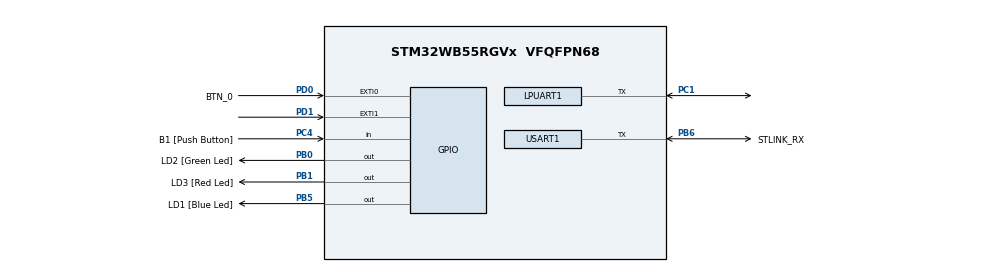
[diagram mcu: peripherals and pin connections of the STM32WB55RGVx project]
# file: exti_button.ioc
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LPUART1.BaudRate=9600
Mcu.Family=STM32WB
Mcu.Name=STM32WB55RGVx
Mcu.Package=VFQFPN68
NVIC.EXTI0_IRQn=true\:0\:0\:false\:false\:true\:true\:true\:true
NVIC.EXTI1_IRQn=true\:0\:0\:false\:false\:true\:true\:true\:true
NVIC.LPUART1_IRQn=true\:0\:0\:false\:false\:true\:true\:true\:true
NVIC.PriorityGroup=NVIC_PRIORITYGROUP_4
OSC_IN.GPIO_Label=RCC_OSC_IN
OSC_IN.Mode=HSE-External-Oscillator
OSC_IN.Signal=RCC_OSC_IN
OSC_OUT.GPIO_Label=RCC_OSC_OUT
OSC_OUT.Mode=HSE-External-Oscillator
OSC_OUT.Signal=RCC_OSC_OUT
PA11.GPIO_Label=USB_DM
PA11.Signal=USB_DM
PA12.GPIO_Label=USB_DP
PA12.Signal=USB_DP
PA13.GPIO_Label=JTMS
PA13.Mode=Serial_Wire
PA13.Signal=SYS_JTMS-SWDIO
PA14.GPIO_Label=JTCK
PA14.Mode=Serial_Wire
PA14.Signal=SYS_JTCK-SWCLK
PB0.GPIO_Label=LD2 [Green Led]
PB0.Signal=GPIO_Output
PB1.GPIO_Label=LD3 [Red Led]
PB1.Signal=GPIO_Output
PB3.GPIO_Label=JTDO
PB3.Signal=SYS_JTDO-SWO
PB5.GPIO_Label=LD1 [Blue Led]
PB5.Signal=GPIO_Output
PB6.GPIO_Label=STLINK_RX
PB6.Mode=Half_duplex(single_wire_mode)
PB6.Signal=USART1_TX
PB7.GPIO_Label=STLINK_TX
PB7.Signal=USART1_RX
PC1.Mode=Half_duplex(single_wire_mode)
PC1.Signal=LPUART1_TX
PC13.GPIO_Label=SYS_WKUP2
PC13.Signal=SYS_WKUP2
PC14-OSC32_IN.GPIO_Label=RCC_OSC32_IN
PC14-OSC32_IN.Mode=LSE-External-Oscillator
PC14-OSC32_IN.Signal=RCC_OSC32_IN
PC15-OSC32_OUT.GPIO_Label=RCC_OSC32_OUT
PC15-OSC32_OUT.Mode=LSE-External-Oscillator
PC15-OSC32_OUT.Signal=RCC_OSC32_OUT
PC4.GPIO_Label=B1 [Push Button]
PC4.Signal=GPIO_Input
PD0.GPIO_Label=BTN_0
PD0.GPIO_ModeDefaultEXTI=GPIO_MODE_IT_FALLING
PD0.GPIO_PuPd=GPIO_PULLUP
PD0.Signal=GPXTI0
PD1.Signal=GPXTI1
ProjectManager.HeapSize=0x200
ProjectManager.StackSize=0x400
ProjectManager.TargetToolchain=STM32CubeIDE
RCC.ADCFreq_Value=128000000
RCC.AHBFreq_Value=32000000
RCC.APB1Freq_Value=32000000
RCC.APB1TimFreq_Value=32000000
RCC.APB2Freq_Value=32000000
RCC.APB2TimFreq_Value=32000000
RCC.APB3Freq_Value=16000000
RCC.CortexFreq_Value=32000000
RCC.HCLKFreq_Value=32000000
RCC.HSE_VALUE=32000000
RCC.HSI48_VALUE=48000000
RCC.HSI_VALUE=16000000
RCC.MSIClockRange=RCC_MSIRANGE_10
RCC.SMPSCLockSelection=RCC_SMPSCLKSOURCE_HSI
RCC.SMPSCLockSelectionVirtual=RCC_SMPSCLKSOURCE_HSI
RCC.SMPSCLockSelectionVirtualVirtual=RCC_SMPSCLKSOURCE_HSI
RCC.SMPSDivider=1
RCC.SYSCLKFreq_VALUE=32000000
RCC.USBFreq_Value=128000000
RCC.VCOOutputFreq_Value=256000000
USART1.BaudRate=9600
USART1.VirtualMode-Half_duplex(single_wire_mode)=VM_ASYNC
VP_MEMORYMAP_VS_MEMORYMAP.Mode=CurAppReg
board=NUCLEO-WB55RG

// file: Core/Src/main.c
/* USER CODE BEGIN Header */
/**
  ******************************************************************************
  * @file           : main.c
  * @brief          : Main program body
  ******************************************************************************
  * @attention
  *
  * Copyright (c) 2025 STMicroelectronics.
  * All rights reserved.
  *
  * This software is licensed under terms that can be found in the LICENSE file
  * in the root directory of this software component.
  * If no LICENSE file comes with this software, it is provided AS-IS.
  *
  ******************************************************************************
  */
/* USER CODE END Header */
#include "main.h"

/* USER CODE BEGIN Includes */

#include "string.h"
#include "stdbool.h"

/* USER CODE END Includes */

UART_HandleTypeDef hlpuart1;
UART_HandleTypeDef huart1;

/* USER CODE BEGIN PV */

bool exti_interupt=false;

/* USER CODE END PV */

void SystemClock_Config(void);
void PeriphCommonClock_Config(void);
static void MX_GPIO_Init(void);
static void MX_LPUART1_UART_Init(void);
static void MX_USART1_UART_Init(void);

/* USER CODE BEGIN 0 */

void HAL_GPIO_EXTI_Callback(uint16_t GPIO_Pin)
{
	if(GPIO_Pin == GPIO_PIN_0)
	{
		exti_interupt=true;
	}
}

/* USER CODE END 0 */

int main(void)
{

  /* MCU Configuration--------------------------------------------------------*/

  /* Reset of all peripherals, Initializes the Flash interface and the Systick. */
  HAL_Init();

  /* Configure the system clock */
  SystemClock_Config();

  /* Configure the peripherals common clocks */
  PeriphCommonClock_Config();

  /* Initialize all configured peripherals */
  MX_GPIO_Init();
  MX_LPUART1_UART_Init();
  MX_USART1_UART_Init();
  /* USER CODE BEGIN 2 */

  char* str = "Going into SLEEP MODE in 5 seconds\r\n";
  HAL_UART_Transmit(&huart1, (uint8_t *)str, strlen (str), HAL_MAX_DELAY);

  for (int i = 0; i < 10; i++) {
	  HAL_GPIO_TogglePin(GPIOB, GPIO_PIN_1);
	  HAL_Delay(500);
	}

  HAL_SuspendTick();
  HAL_GPIO_WritePin(GPIOB, GPIO_PIN_1, 0);
  HAL_PWR_EnterSTOPMode(PWR_LOWPOWERREGULATOR_ON, PWR_STOPENTRY_WFI); // enter STOP MODE

  /* USER CODE END 2 */

  /* Infinite loop */
  /* USER CODE BEGIN WHILE */
  while (1)
  {

	  if(exti_interupt)
	  {
		exti_interupt=false;
		SystemClock_Config();
		HAL_ResumeTick();
		char *str = "WAKEUP FROM EXTII\n\n";
		HAL_UART_Transmit(&huart1, (uint8_t *) str, strlen (str), HAL_MAX_DELAY);

		for (int i = 0; i < 10; i++) {
			HAL_GPIO_TogglePin(GPIOB, GPIO_PIN_1);
			HAL_Delay(500);
		}

		str = "GOING BACK TO SLEEP AFTER 5 BLINKS \n\n";
		HAL_UART_Transmit(&huart1, (uint8_t *) str, strlen (str), HAL_MAX_DELAY);
		HAL_GPIO_WritePin(GPIOB, GPIO_PIN_1, 0);

		HAL_SuspendTick();
		HAL_PWR_EnterSTOPMode(PWR_LOWPOWERREGULATOR_ON, PWR_STOPENTRY_WFI); // enter STOP MODE

	  }

    /* USER CODE END WHILE */

  }
}

void SystemClock_Config(void)
{
  RCC_OscInitTypeDef RCC_OscInitStruct = {0};
  RCC_ClkInitTypeDef RCC_ClkInitStruct = {0};

  /** Configure the main internal regulator output voltage
  */
  __HAL_PWR_VOLTAGESCALING_CONFIG(PWR_REGULATOR_VOLTAGE_SCALE1);

  /** Initializes the RCC Oscillators according to the specified parameters
  * in the RCC_OscInitTypeDef structure.
  */
  RCC_OscInitStruct.OscillatorType = RCC_OSCILLATORTYPE_HSI|RCC_OSCILLATORTYPE_HSE
                              |RCC_OSCILLATORTYPE_MSI;
  RCC_OscInitStruct.HSEState = RCC_HSE_ON;
  RCC_OscInitStruct.HSIState = RCC_HSI_ON;
  RCC_OscInitStruct.MSIState = RCC_MSI_ON;
  RCC_OscInitStruct.HSICalibrationValue = RCC_HSICALIBRATION_DEFAULT;
  RCC_OscInitStruct.MSICalibrationValue = RCC_MSICALIBRATION_DEFAULT;
  RCC_OscInitStruct.MSIClockRange = RCC_MSIRANGE_10;
  RCC_OscInitStruct.PLL.PLLState = RCC_PLL_NONE;
  if (HAL_RCC_OscConfig(&RCC_OscInitStruct) != HAL_OK)
  {
    Error_Handler();
  }

  /** Configure the SYSCLKSource, HCLK, PCLK1 and PCLK2 clocks dividers
  */
  RCC_ClkInitStruct.ClockType = RCC_CLOCKTYPE_HCLK4|RCC_CLOCKTYPE_HCLK2
                              |RCC_CLOCKTYPE_HCLK|RCC_CLOCKTYPE_SYSCLK
                              |RCC_CLOCKTYPE_PCLK1|RCC_CLOCKTYPE_PCLK2;
  RCC_ClkInitStruct.SYSCLKSource = RCC_SYSCLKSOURCE_MSI;
  RCC_ClkInitStruct.AHBCLKDivider = RCC_SYSCLK_DIV1;
  RCC_ClkInitStruct.APB1CLKDivider = RCC_HCLK_DIV1;
  RCC_ClkInitStruct.APB2CLKDivider = RCC_HCLK_DIV1;
  RCC_ClkInitStruct.AHBCLK2Divider = RCC_SYSCLK_DIV1;
  RCC_ClkInitStruct.AHBCLK4Divider = RCC_SYSCLK_DIV1;

  if (HAL_RCC_ClockConfig(&RCC_ClkInitStruct, FLASH_LATENCY_1) != HAL_OK)
  {
    Error_Handler();
  }
}

void PeriphCommonClock_Config(void)
{
  RCC_PeriphCLKInitTypeDef PeriphClkInitStruct = {0};

  /** Initializes the peripherals clock
  */
  PeriphClkInitStruct.PeriphClockSelection = RCC_PERIPHCLK_SMPS;
  PeriphClkInitStruct.SmpsClockSelection = RCC_SMPSCLKSOURCE_HSI;
  PeriphClkInitStruct.SmpsDivSelection = RCC_SMPSCLKDIV_RANGE0;

  if (HAL_RCCEx_PeriphCLKConfig(&PeriphClkInitStruct) != HAL_OK)
  {
    Error_Handler();
  }
}

static void MX_LPUART1_UART_Init(void)
{

  hlpuart1.Instance = LPUART1;
  hlpuart1.Init.BaudRate = 9600;
  hlpuart1.Init.WordLength = UART_WORDLENGTH_8B;
  hlpuart1.Init.StopBits = UART_STOPBITS_1;
  hlpuart1.Init.Parity = UART_PARITY_NONE;
  hlpuart1.Init.Mode = UART_MODE_TX_RX;
  hlpuart1.Init.HwFlowCtl = UART_HWCONTROL_NONE;
  hlpuart1.Init.OneBitSampling = UART_ONE_BIT_SAMPLE_DISABLE;
  hlpuart1.Init.ClockPrescaler = UART_PRESCALER_DIV1;
  hlpuart1.AdvancedInit.AdvFeatureInit = UART_ADVFEATURE_NO_INIT;
  if (HAL_HalfDuplex_Init(&hlpuart1) != HAL_OK)
  {
    Error_Handler();
  }
  if (HAL_UARTEx_SetTxFifoThreshold(&hlpuart1, UART_TXFIFO_THRESHOLD_1_8) != HAL_OK)
  {
    Error_Handler();
  }
  if (HAL_UARTEx_SetRxFifoThreshold(&hlpuart1, UART_RXFIFO_THRESHOLD_1_8) != HAL_OK)
  {
    Error_Handler();
  }
  if (HAL_UARTEx_DisableFifoMode(&hlpuart1) != HAL_OK)
  {
    Error_Handler();
  }

}

static void MX_USART1_UART_Init(void)
{

  huart1.Instance = USART1;
  huart1.Init.BaudRate = 9600;
  huart1.Init.WordLength = UART_WORDLENGTH_8B;
  huart1.Init.StopBits = UART_STOPBITS_1;
  huart1.Init.Parity = UART_PARITY_NONE;
  huart1.Init.Mode = UART_MODE_TX_RX;
  huart1.Init.HwFlowCtl = UART_HWCONTROL_NONE;
  huart1.Init.OverSampling = UART_OVERSAMPLING_16;
  huart1.Init.OneBitSampling = UART_ONE_BIT_SAMPLE_DISABLE;
  huart1.Init.ClockPrescaler = UART_PRESCALER_DIV1;
  huart1.AdvancedInit.AdvFeatureInit = UART_ADVFEATURE_NO_INIT;
  if (HAL_HalfDuplex_Init(&huart1) != HAL_OK)
  {
    Error_Handler();
  }
  if (HAL_UARTEx_SetTxFifoThreshold(&huart1, UART_TXFIFO_THRESHOLD_1_8) != HAL_OK)
  {
    Error_Handler();
  }
  if (HAL_UARTEx_SetRxFifoThreshold(&huart1, UART_RXFIFO_THRESHOLD_1_8) != HAL_OK)
  {
    Error_Handler();
  }
  if (HAL_UARTEx_DisableFifoMode(&huart1) != HAL_OK)
  {
    Error_Handler();
  }

}

static void MX_GPIO_Init(void)
{
  GPIO_InitTypeDef GPIO_InitStruct = {0};

  /* GPIO Ports Clock Enable */
  __HAL_RCC_GPIOC_CLK_ENABLE();
  __HAL_RCC_GPIOB_CLK_ENABLE();
  __HAL_RCC_GPIOA_CLK_ENABLE();
  __HAL_RCC_GPIOD_CLK_ENABLE();

  /*Configure GPIO pin Output Level */
  HAL_GPIO_WritePin(GPIOB, LD2_Pin|LD3_Pin|LD1_Pin, GPIO_PIN_RESET);

  /*Configure GPIO pin : B1_Pin */
  GPIO_InitStruct.Pin = B1_Pin;
  GPIO_InitStruct.Mode = GPIO_MODE_INPUT;
  GPIO_InitStruct.Pull = GPIO_NOPULL;
  HAL_GPIO_Init(B1_GPIO_Port, &GPIO_InitStruct);

  /*Configure GPIO pins : LD2_Pin LD3_Pin LD1_Pin */
  GPIO_InitStruct.Pin = LD2_Pin|LD3_Pin|LD1_Pin;
  GPIO_InitStruct.Mode = GPIO_MODE_OUTPUT_PP;
  GPIO_InitStruct.Pull = GPIO_NOPULL;
  GPIO_InitStruct.Speed = GPIO_SPEED_FREQ_LOW;
  HAL_GPIO_Init(GPIOB, &GPIO_InitStruct);

  /*Configure GPIO pins : USB_DM_Pin USB_DP_Pin */
  GPIO_InitStruct.Pin = USB_DM_Pin|USB_DP_Pin;
  GPIO_InitStruct.Mode = GPIO_MODE_AF_PP;
  GPIO_InitStruct.Pull = GPIO_NOPULL;
  GPIO_InitStruct.Speed = GPIO_SPEED_FREQ_LOW;
  GPIO_InitStruct.Alternate = GPIO_AF10_USB;
  HAL_GPIO_Init(GPIOA, &GPIO_InitStruct);

  /*Configure GPIO pin : BTN_0_Pin */
  GPIO_InitStruct.Pin = BTN_0_Pin;
  GPIO_InitStruct.Mode = GPIO_MODE_IT_FALLING;
  GPIO_InitStruct.Pull = GPIO_PULLUP;
  HAL_GPIO_Init(BTN_0_GPIO_Port, &GPIO_InitStruct);

  /*Configure GPIO pin : PD1 */
  GPIO_InitStruct.Pin = GPIO_PIN_1;
  GPIO_InitStruct.Mode = GPIO_MODE_IT_RISING;
  GPIO_InitStruct.Pull = GPIO_NOPULL;
  HAL_GPIO_Init(GPIOD, &GPIO_InitStruct);

  /* EXTI interrupt init*/
  HAL_NVIC_SetPriority(EXTI0_IRQn, 0, 0);
  HAL_NVIC_EnableIRQ(EXTI0_IRQn);

  HAL_NVIC_SetPriority(EXTI1_IRQn, 0, 0);
  HAL_NVIC_EnableIRQ(EXTI1_IRQn);

}

void Error_Handler(void)
{
  __disable_irq();
  while (1)
  {
  }
}
